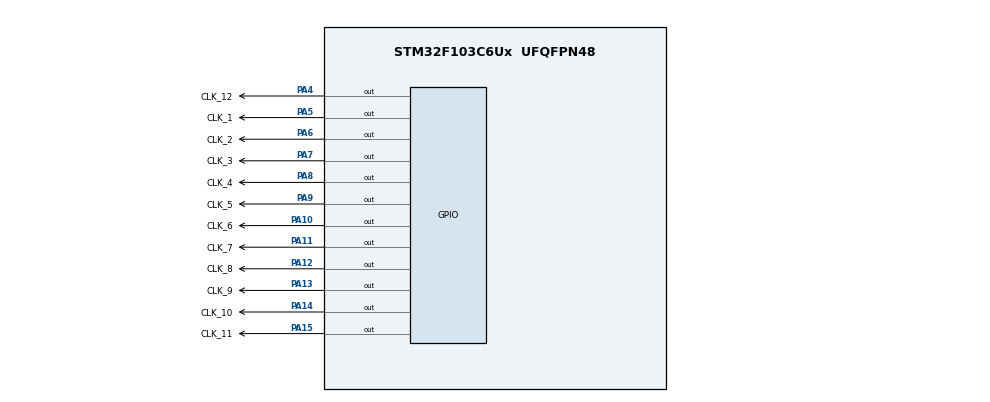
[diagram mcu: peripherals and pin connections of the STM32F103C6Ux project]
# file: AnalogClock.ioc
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Mcu.Family=STM32F1
Mcu.Name=STM32F103C6Ux
Mcu.Package=UFQFPN48
NVIC.PriorityGroup=NVIC_PRIORITYGROUP_4
PA10.GPIO_Label=CLK_6
PA10.Signal=GPIO_Output
PA11.GPIO_Label=CLK_7
PA11.Signal=GPIO_Output
PA12.GPIO_Label=CLK_8
PA12.Signal=GPIO_Output
PA13.GPIO_Label=CLK_9
PA13.Signal=GPIO_Output
PA14.GPIO_Label=CLK_10
PA14.Signal=GPIO_Output
PA15.GPIO_Label=CLK_11
PA15.Signal=GPIO_Output
PA4.GPIO_Label=CLK_12
PA4.Signal=GPIO_Output
PA5.GPIO_Label=CLK_1
PA5.Signal=GPIO_Output
PA6.GPIO_Label=CLK_2
PA6.Signal=GPIO_Output
PA7.GPIO_Label=CLK_3
PA7.Signal=GPIO_Output
PA8.GPIO_Label=CLK_4
PA8.Signal=GPIO_Output
PA9.GPIO_Label=CLK_5
PA9.Signal=GPIO_Output
ProjectManager.HeapSize=0x200
ProjectManager.StackSize=0x400
ProjectManager.TargetToolchain=STM32CubeIDE
RCC.APB1Freq_Value=8000000
RCC.APB2Freq_Value=8000000
VP_SYS_VS_ND.Mode=No_Debug
board=custom

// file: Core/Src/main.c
/* USER CODE BEGIN Header */
/**
  ******************************************************************************
  * @file           : main.c
  * @brief          : Main program body
  ******************************************************************************
  */
/* USER CODE END Header */
#include "main.h"

/* USER CODE BEGIN PV */
// Map clock indices 0-11 to GPIO pins (Index 0 = 12 o'clock, 1 = 1 o'clock, etc.)
uint16_t clockPins[12] = {
    CLK_12_Pin, CLK_1_Pin, CLK_2_Pin, CLK_3_Pin,
    CLK_4_Pin,  CLK_5_Pin, CLK_6_Pin, CLK_7_Pin,
    CLK_8_Pin,  CLK_9_Pin, CLK_10_Pin, CLK_11_Pin
};
/* USER CODE END PV */

void SystemClock_Config(void);
static void MX_GPIO_Init(void);
/* USER CODE BEGIN PFP */
void clearAllClock(void);
void setNumberOnClock(int num);
void clearNumberOnClock(int num);
void displayClock(int hour, int minute, int second);
void ex6(void);
/* USER CODE END PFP */

/* Private user code --------------------------------------------------------- */
/* USER CODE BEGIN 0 */
void clearAllClock(void) {
    for (int i = 0; i < 12; i++) {
        HAL_GPIO_WritePin(GPIOA, clockPins[i], GPIO_PIN_SET);
    }
}

void setNumberOnClock(int num) {
    if (num >= 0 && num < 12) {
        HAL_GPIO_WritePin(GPIOA, clockPins[num], GPIO_PIN_RESET);
    }
}

void clearNumberOnClock(int num) {
    if (num >= 0 && num < 12) {
        HAL_GPIO_WritePin(GPIOA, clockPins[num], GPIO_PIN_SET);
    }
}

void displayClock(int hour, int minute, int second) {
    clearAllClock();

    int second_led = (second / 5) % 12;
    int minute_led = (minute / 5) % 12;
    int hour_led = hour % 12;

    setNumberOnClock(hour_led);
    setNumberOnClock(minute_led);
    setNumberOnClock(second_led);
}

void ex6(void) {
    for (int i = 0; i < 12; i++) {
        HAL_GPIO_WritePin(GPIOA, clockPins[i], GPIO_PIN_RESET);
        HAL_Delay(500);
        HAL_GPIO_WritePin(GPIOA, clockPins[i], GPIO_PIN_SET);
    }
}
/* USER CODE END 0 */

int main(void)
{
  /* MCU Configuration--------------------------------------------------------*/
  HAL_Init();
  SystemClock_Config();
  MX_GPIO_Init();

  /* USER CODE BEGIN 2 */
  clearAllClock();
  int h = 10;
  int m = 30;
  int s = 45;
  /* USER CODE END 2 */

  /* Infinite loop */
  while (1)
  {

    /* USER CODE BEGIN 3 */
    displayClock(h, m, s);
    HAL_Delay(1000);

    s++;
    if (s >= 60) {
        s = 0;
        m++;
        if (m >= 60) {
            m = 0;
            h = (h + 1) % 12;
        }
    }
  }
  /* USER CODE END 3 */
}

void SystemClock_Config(void)
{
  RCC_OscInitTypeDef RCC_OscInitStruct = {0};
  RCC_ClkInitTypeDef RCC_ClkInitStruct = {0};

  RCC_OscInitStruct.OscillatorType = RCC_OSCILLATORTYPE_HSI;
  RCC_OscInitStruct.HSIState = RCC_HSI_ON;
  RCC_OscInitStruct.HSICalibrationValue = RCC_HSICALIBRATION_DEFAULT;
  RCC_OscInitStruct.PLL.PLLState = RCC_PLL_NONE;
  if (HAL_RCC_OscConfig(&RCC_OscInitStruct) != HAL_OK)
  {
    Error_Handler();
  }

  RCC_ClkInitStruct.ClockType = RCC_CLOCKTYPE_HCLK|RCC_CLOCKTYPE_SYSCLK
                              |RCC_CLOCKTYPE_PCLK1|RCC_CLOCKTYPE_PCLK2;
  RCC_ClkInitStruct.SYSCLKSource = RCC_SYSCLKSOURCE_HSI;
  RCC_ClkInitStruct.AHBCLKDivider = RCC_SYSCLK_DIV1;
  RCC_ClkInitStruct.APB1CLKDivider = RCC_HCLK_DIV1;
  RCC_ClkInitStruct.APB2CLKDivider = RCC_HCLK_DIV1;

  if (HAL_RCC_ClockConfig(&RCC_ClkInitStruct, FLASH_LATENCY_0) != HAL_OK)
  {
    Error_Handler();
  }
}

static void MX_GPIO_Init(void)
{
  GPIO_InitTypeDef GPIO_InitStruct = {0};

  /* GPIO Ports Clock Enable */
  __HAL_RCC_GPIOA_CLK_ENABLE();

  /*Configure GPIO pin Output Level */
  HAL_GPIO_WritePin(GPIOA, CLK_12_Pin|CLK_1_Pin|CLK_2_Pin|CLK_3_Pin
                          |CLK_4_Pin|CLK_5_Pin|CLK_6_Pin|CLK_7_Pin
                          |CLK_8_Pin|CLK_9_Pin|CLK_10_Pin|CLK_11_Pin, GPIO_PIN_RESET);

  /*Configure GPIO pins */
  GPIO_InitStruct.Pin = CLK_12_Pin|CLK_1_Pin|CLK_2_Pin|CLK_3_Pin
                          |CLK_4_Pin|CLK_5_Pin|CLK_6_Pin|CLK_7_Pin
                          |CLK_8_Pin|CLK_9_Pin|CLK_10_Pin|CLK_11_Pin;
  GPIO_InitStruct.Mode = GPIO_MODE_OUTPUT_PP;
  GPIO_InitStruct.Pull = GPIO_NOPULL;
  GPIO_InitStruct.Speed = GPIO_SPEED_FREQ_LOW;
  HAL_GPIO_Init(GPIOA, &GPIO_InitStruct);
}

void Error_Handler(void)
{
  __disable_irq();
  while (1)
  {
  }
}
